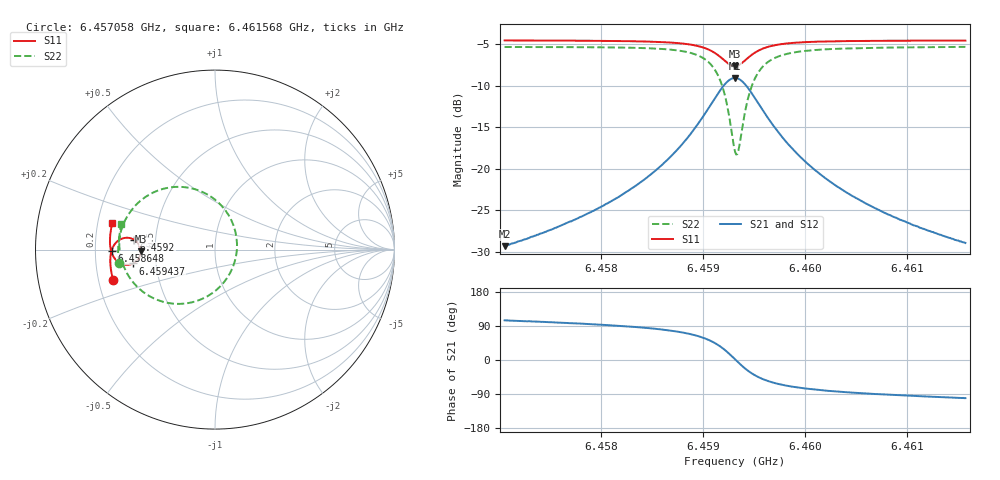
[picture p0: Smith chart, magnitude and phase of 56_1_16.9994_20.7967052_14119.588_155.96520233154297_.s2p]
#  HZ  S  RI  R  50.00
! Rohde & Schwarz Vector Network Analyzer
! Rohde-Schwarz,ZNB20-2Port,1311601062101988,3.16
! Created: UTC 3/20/2024, 10:54:36 PM
! freq[Hz]  re:S11  im:S11  re:S21  im:S21  re:S12  im:S12  re:S22  im:S22
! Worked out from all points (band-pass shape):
!   401 points, 6.457058 GHz to 6.461568 GHz, reference 50 ohm
!   highest |S21| = -9.07 dB at 6.459313 GHz (marker M1); lowest = -29.3 dB at 6.457058 GHz (marker M2)
!   |S21| within 3 dB of the highest: 6.459087 GHz to 6.459538 GHz (451.2 kHz wide, 0.00699 % of centre)
!   lowest |S11| = -7.7 dB at 6.459313 GHz (marker M3), VSWR 2.41, Z = 20.7 - j0.493 ohm
!   |S11| at or under -10 dB: nowhere
!   |S22| runs from -18.3 to -5.3 dB; largest |S21 - S12| = 0.014
!   S11 on the Smith chart (normalised r, x): 6.457058 GHz: 0.26, -0.13; 6.458648 GHz: 0.27, -0.01; 6.4592 GHz: 0.38, +0.05; 6.459437 GHz: 0.37, -0.07; 6.461568 GHz: 0.26, +0.12
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6.4570579e9  -0.5677 -0.1671  -0.00872 0.0331  -0.00696 0.0332  -0.5351 -0.0765
6.4578133e9  -0.581 -0.1007  -0.00519 0.0514  -0.00269 0.0508  -0.5388 0.0129
6.4581966e9  -0.5836 -0.0622  0.000213 0.0691  0.00338 0.0678  -0.5312 0.0741
6.4585687e9  -0.5793 -0.0176  0.0152 0.1004  0.0193 0.0977  -0.5032 0.1583
6.4586476e9  -0.5765 -0.00654  0.0217 0.1105  0.0259 0.1073  -0.4907 0.1819
6.4588393e9  -0.5627 0.0243  0.0504 0.1425  0.0545 0.1374  -0.4369 0.2524
6.4589746e9  -0.5408 0.0485  0.0944 0.1711  0.0975 0.1644  -0.356 0.3122
6.4591099e9  -0.496 0.0659  0.1834 0.1873  0.1841 0.1801  -0.1934 0.3495
6.4592001e9  -0.4505 0.055  0.2747 0.1548  0.275 0.1491  -0.0244 0.2961
6.4592677e9  -0.421 0.022  0.3357 0.0813  0.338 0.0759  0.0915 0.1628
6.4593128e9  -0.4141 -0.00985  0.3518 0.0119  0.3557 0.00485  0.1226 0.033
6.4593466e9  -0.4183 -0.0341  0.3454 -0.0415  0.3494 -0.0508  0.1096 -0.068
6.4593917e9  -0.4343 -0.0607  0.3159 -0.1022  0.3182 -0.1143  0.0496 -0.1823
6.4594368e9  -0.4567 -0.0773  0.2727 -0.1435  0.2718 -0.157  -0.0379 -0.2574
6.459527e9  -0.5011 -0.0844  0.1864 -0.1745  0.18 -0.1862  -0.2097 -0.3023
6.4595947e9  -0.5258 -0.0769  0.1374 -0.1721  0.1292 -0.1812  -0.3044 -0.2862
6.4596736e9  -0.5456 -0.0638  0.0972 -0.1598  0.0885 -0.1662  -0.3794 -0.2507
6.4598315e9  -0.5675 -0.0361  0.0516 -0.1312  0.044 -0.1339  -0.4602 -0.1771
6.4600682e9  -0.5806 -0.000521  0.0222 -0.0991  0.0164 -0.0996  -0.5082 -0.0937
6.4604065e9  -0.5854 0.0401  0.00633 -0.0716  0.0021 -0.0711  -0.5296 -0.0141
6.4608236e9  -0.5836 0.0824  -0.00157 -0.0528  -0.00434 -0.0519  -0.5336 0.0541
6.4615678e9  -0.5719 0.1487  -0.00657 -0.0352  -0.00835 -0.0341  -0.5224 0.1431
